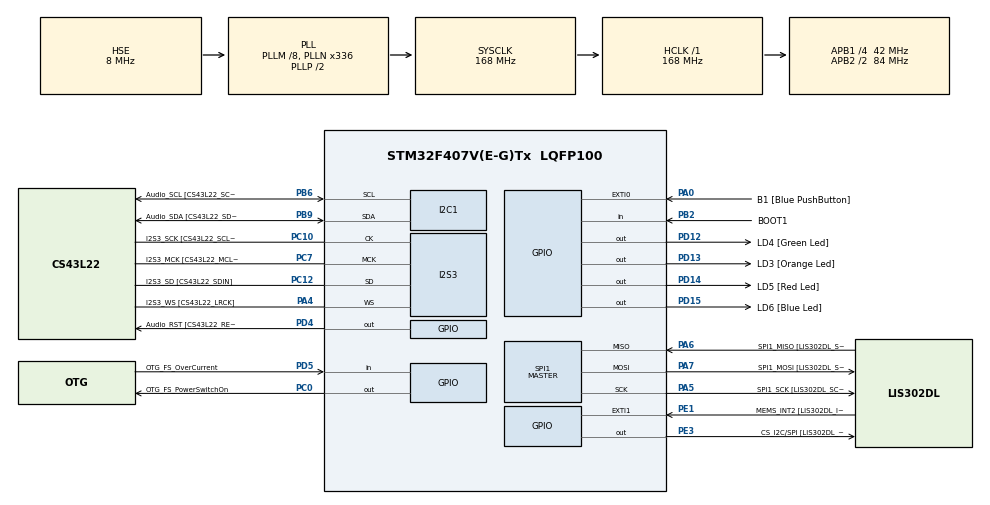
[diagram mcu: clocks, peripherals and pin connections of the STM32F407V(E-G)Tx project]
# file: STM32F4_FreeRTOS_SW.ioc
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FREERTOS.Tasks01=defaultTask,24,256,StartDefaultTask,Default,NULL,Dynamic,NULL,NULL;myGreenTask,24,256,StartGreenTask,Default,NULL,Dynamic,NULL,NULL;myBlueTask,24,256,StartBlueTask,Default,NULL,Dynamic,NULL,NULL
FREERTOS.configMINIMAL_STACK_SIZE=256
I2S3.AudioFreq-Half_Duplex_Master=I2S_AUDIOFREQ_96K
I2S3.ErrorAudioFreq=-2.34 %
I2S3.ErrorAudioFreq-Half_Duplex_Master=0.8 %
I2S3.FullDuplexMode=I2S_FULLDUPLEXMODE_DISABLE
I2S3.Instance=SPI$Index
I2S3.RealAudioFreq=93.75 KHz
I2S3.RealAudioFreq-Half_Duplex_Master=96.774 KHz
I2S3.VirtualMode=I2S_MODE_MASTER
Mcu.Family=STM32F4
Mcu.Name=STM32F407V(E-G)Tx
Mcu.Package=LQFP100
NVIC.EXTI0_IRQn=true\:5\:0\:false\:false\:true\:true\:true\:true\:true
NVIC.PriorityGroup=NVIC_PRIORITYGROUP_4
NVIC.TIM6_DAC_IRQn=true\:15\:0\:false\:false\:true\:false\:false\:true\:true
NVIC.TimeBase=TIM6_DAC_IRQn
NVIC.TimeBaseIP=TIM6
PA0-WKUP.GPIO_Label=B1 [Blue PushButton]
PA0-WKUP.GPIO_ModeDefaultEXTI=GPIO_MODE_IT_RISING
PA0-WKUP.GPIO_PuPd=GPIO_NOPULL
PA0-WKUP.Signal=GPXTI0
PA10.GPIO_Label=OTG_FS_ID
PA10.GPIO_Mode=GPIO_MODE_AF_PP
PA10.GPIO_PuPd=GPIO_NOPULL
PA10.GPIO_Speed=GPIO_SPEED_FREQ_LOW
PA10.Signal=USB_OTG_FS_ID
PA11.GPIO_Label=OTG_FS_DM
PA11.GPIO_Mode=GPIO_MODE_AF_PP
PA11.GPIO_PuPd=GPIO_NOPULL
PA11.GPIO_Speed=GPIO_SPEED_FREQ_LOW
PA11.Signal=USB_OTG_FS_DM
PA12.GPIO_Label=OTG_FS_DP
PA12.GPIO_Mode=GPIO_MODE_AF_PP
PA12.GPIO_PuPd=GPIO_NOPULL
PA12.GPIO_Speed=GPIO_SPEED_FREQ_LOW
PA12.Signal=USB_OTG_FS_DP
PA13.GPIO_Label=SWDIO
PA13.Mode=Serial_Wire
PA13.Signal=SYS_JTMS-SWDIO
PA14.GPIO_Label=SWCLK
PA14.Mode=Serial_Wire
PA14.Signal=SYS_JTCK-SWCLK
PA4.GPIO_Label=I2S3_WS [CS43L22_LRCK]
PA4.GPIO_Mode=GPIO_MODE_AF_PP
PA4.GPIO_PuPd=GPIO_NOPULL
PA4.GPIO_Speed=GPIO_SPEED_FREQ_LOW
PA4.Mode=Half_Duplex_Master
PA4.Signal=I2S3_WS
PA5.GPIO_Label=SPI1_SCK [LIS302DL_SCL/SPC]
PA5.GPIO_Mode=GPIO_MODE_AF_PP
PA5.GPIO_PuPd=GPIO_NOPULL
PA5.GPIO_Speed=GPIO_SPEED_FREQ_LOW
PA5.Mode=Full_Duplex_Master
PA5.Signal=SPI1_SCK
PA6.GPIO_Label=SPI1_MISO [LIS302DL_SDO]
PA6.GPIO_Mode=GPIO_MODE_AF_PP
PA6.GPIO_PuPd=GPIO_NOPULL
PA6.GPIO_Speed=GPIO_SPEED_FREQ_LOW
PA6.Mode=Full_Duplex_Master
PA6.Signal=SPI1_MISO
PA7.GPIO_Label=SPI1_MOSI [LIS302DL_SDA/SDI/SDO]
PA7.GPIO_Mode=GPIO_MODE_AF_PP
PA7.GPIO_PuPd=GPIO_NOPULL
PA7.GPIO_Speed=GPIO_SPEED_FREQ_LOW
PA7.Mode=Full_Duplex_Master
PA7.Signal=SPI1_MOSI
PA9.GPIO_Label=VBUS_FS
PA9.GPIO_Mode=GPIO_MODE_INPUT
PA9.GPIO_PuPd=GPIO_NOPULL
PA9.Signal=USB_OTG_FS_VBUS
PB10.GPIO_Label=CLK_IN [MP45DT02_CLK]
PB10.GPIO_Mode=GPIO_MODE_AF_PP
PB10.GPIO_PuPd=GPIO_NOPULL
PB10.GPIO_Speed=GPIO_SPEED_FREQ_LOW
PB10.Signal=I2S2_CK
PB2.GPIO_Label=BOOT1
PB2.GPIO_Mode=GPIO_MODE_INPUT
PB2.GPIO_PuPd=GPIO_NOPULL
PB2.Signal=GPIO_Input
PB3.GPIO_Label=SWO
PB3.Signal=SYS_JTDO-SWO
PB6.GPIO_Label=Audio_SCL [CS43L22_SCL]
PB6.GPIO_Mode=GPIO_MODE_AF_OD
PB6.GPIO_Pu=GPIO_PULLUP
PB6.GPIO_PuPd=GPIO_NOPULL
PB6.GPIO_Speed=GPIO_SPEED_FREQ_LOW
PB6.Mode=I2C
PB6.Signal=I2C1_SCL
PB9.GPIO_Label=Audio_SDA [CS43L22_SDA]
PB9.GPIO_Mode=GPIO_MODE_AF_OD
PB9.GPIO_Pu=GPIO_PULLUP
PB9.GPIO_PuPd=GPIO_NOPULL
PB9.GPIO_Speed=GPIO_SPEED_FREQ_LOW
PB9.Mode=I2C
PB9.Signal=I2C1_SDA
PC0.GPIO_Label=OTG_FS_PowerSwitchOn
PC0.GPIO_PuPd=GPIO_NOPULL
PC0.GPIO_Speed=GPIO_SPEED_FREQ_LOW
PC0.PinState=GPIO_PIN_SET
PC0.Signal=GPIO_Output
PC10.GPIO_Label=I2S3_SCK [CS43L22_SCLK]
PC10.GPIO_Mode=GPIO_MODE_AF_PP
PC10.GPIO_PuPd=GPIO_NOPULL
PC10.GPIO_Speed=GPIO_SPEED_FREQ_LOW
PC10.Mode=Half_Duplex_Master
PC10.Signal=I2S3_CK
PC12.GPIO_Label=I2S3_SD [CS43L22_SDIN]
PC12.GPIO_Mode=GPIO_MODE_AF_PP
PC12.GPIO_PuPd=GPIO_NOPULL
PC12.GPIO_Speed=GPIO_SPEED_FREQ_LOW
PC12.Mode=Half_Duplex_Master
PC12.Signal=I2S3_SD
PC14-OSC32_IN.GPIO_Label=PC14-OSC32_IN
PC14-OSC32_IN.Mode=LSE-External-Oscillator
PC14-OSC32_IN.Signal=RCC_OSC32_IN
PC15-OSC32_OUT.GPIO_Label=PC15-OSC32_OUT
PC15-OSC32_OUT.Mode=LSE-External-Oscillator
PC15-OSC32_OUT.Signal=RCC_OSC32_OUT
PC3.GPIO_Label=PDM_OUT [MP45DT02_DOUT]
PC3.GPIO_Mode=GPIO_MODE_AF_PP
PC3.GPIO_PuPd=GPIO_NOPULL
PC3.GPIO_Speed=GPIO_SPEED_FREQ_LOW
PC3.Signal=I2S2_SD
PC7.GPIO_Label=I2S3_MCK [CS43L22_MCLK]
PC7.GPIO_Mode=GPIO_MODE_AF_PP
PC7.GPIO_PuPd=GPIO_NOPULL
PC7.GPIO_Speed=GPIO_SPEED_FREQ_LOW
PC7.Mode=Master_Clock_Activated
PC7.Signal=I2S3_MCK
PD12.GPIO_Label=LD4 [Green Led]
PD12.GPIO_PuPd=GPIO_NOPULL
PD12.GPIO_Speed=GPIO_SPEED_FREQ_LOW
PD12.Signal=GPIO_Output
PD13.GPIO_Label=LD3 [Orange Led]
PD13.GPIO_PuPd=GPIO_NOPULL
PD13.GPIO_Speed=GPIO_SPEED_FREQ_LOW
PD13.Signal=GPIO_Output
PD14.GPIO_Label=LD5 [Red Led]
PD14.GPIO_PuPd=GPIO_NOPULL
PD14.GPIO_Speed=GPIO_SPEED_FREQ_LOW
PD14.Signal=GPIO_Output
PD15.GPIO_Label=LD6 [Blue Led]
PD15.GPIO_PuPd=GPIO_NOPULL
PD15.GPIO_Speed=GPIO_SPEED_FREQ_LOW
PD15.Signal=GPIO_Output
PD4.GPIO_Label=Audio_RST [CS43L22_RESET]
PD4.GPIO_PuPd=GPIO_NOPULL
PD4.GPIO_Speed=GPIO_SPEED_FREQ_LOW
PD4.Signal=GPIO_Output
PD5.GPIO_Label=OTG_FS_OverCurrent
PD5.GPIO_Mode=GPIO_MODE_INPUT
PD5.GPIO_PuPd=GPIO_NOPULL
PD5.Signal=GPIO_Input
PE1.GPIO_Label=MEMS_INT2 [LIS302DL_INT2]
PE1.GPIO_ModeDefaultEXTI=GPIO_MODE_EVT_RISING
PE1.GPIO_PuPd=GPIO_NOPULL
PE1.Signal=GPXTI1
PE3.GPIO_Label=CS_I2C/SPI [LIS302DL_CS_I2C/SPI]
PE3.GPIO_PuPd=GPIO_NOPULL
PE3.GPIO_Speed=GPIO_SPEED_FREQ_LOW
PE3.Signal=GPIO_Output
PH0-OSC_IN.GPIO_Label=PH0-OSC_IN
PH0-OSC_IN.Mode=HSE-External-Oscillator
PH0-OSC_IN.Signal=RCC_OSC_IN
PH1-OSC_OUT.GPIO_Label=PH1-OSC_OUT
PH1-OSC_OUT.Mode=HSE-External-Oscillator
PH1-OSC_OUT.Signal=RCC_OSC_OUT
ProjectManager.HeapSize=0x200
ProjectManager.StackSize=0x400
ProjectManager.TargetToolchain=STM32CubeIDE
RCC.48MHZClocksFreq_Value=48000000
RCC.AHBFreq_Value=168000000
RCC.APB1CLKDivider=RCC_HCLK_DIV4
RCC.APB1Freq_Value=42000000
RCC.APB1TimFreq_Value=84000000
RCC.APB2CLKDivider=RCC_HCLK_DIV2
RCC.APB2Freq_Value=84000000
RCC.APB2TimFreq_Value=168000000
RCC.CortexFreq_Value=168000000
RCC.HCLKFreq_Value=168000000
RCC.HSE_VALUE=8000000
RCC.HSI_VALUE=16000000
RCC.PLLM=8
RCC.PLLN=336
RCC.PLLQ=7
RCC.PLLSourceVirtual=RCC_PLLSOURCE_HSE
RCC.SYSCLKFreq_VALUE=168000000
RCC.SYSCLKSource=RCC_SYSCLKSOURCE_PLLCLK
RCC.VCOOutputFreq_Value=336000000
SPI1.BaudRatePrescaler-Full_Duplex_Master=SPI_BAUDRATEPRESCALER_2
SPI1.CalculateBaudRate-Full_Duplex_Master=42.0 MBits/s
SPI1.Direction=SPI_DIRECTION_2LINES
SPI1.Mode=SPI_MODE_MASTER
SPI1.Mode-Full_Duplex_Master=SPI_MODE_MASTER
SPI1.VirtualType=VM_MASTER
VP_FREERTOS_VS_CMSIS_V2.Mode=CMSIS_V2
VP_SYS_VS_tim6.Mode=TIM6
board=STM32F407G-DISC1

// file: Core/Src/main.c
/* USER CODE BEGIN Header */
/**
  ******************************************************************************
  * @file           : main.c
  * @brief          : Main program body
  ******************************************************************************
  * @attention
  *
  * Copyright (c) 2023 STMicroelectronics.
  * All rights reserved.
  *
  * This software is licensed under terms that can be found in the LICENSE file
  * in the root directory of this software component.
  * If no LICENSE file comes with this software, it is provided AS-IS.
  *
  ******************************************************************************
  */
/* USER CODE END Header */
#include "main.h"
#include "cmsis_os.h"

/* USER CODE BEGIN Includes */
#include <SEGGER_SYSVIEW.h>

/* USER CODE END Includes */

/* USER CODE BEGIN PD */
#define Marker1_Id 1		//SystemView time marker

/* USER CODE END PD */

I2C_HandleTypeDef hi2c1;

I2S_HandleTypeDef hi2s3;

SPI_HandleTypeDef hspi1;

/* Definitions for defaultTask */
osThreadId_t defaultTaskHandle;
const osThreadAttr_t defaultTask_attributes = {
  .name = "defaultTask",
  .stack_size = 256 * 4,
  .priority = (osPriority_t) osPriorityNormal,
};
/* Definitions for myGreenTask */
osThreadId_t myGreenTaskHandle;
const osThreadAttr_t myGreenTask_attributes = {
  .name = "myGreenTask",
  .stack_size = 256 * 4,
  .priority = (osPriority_t) osPriorityNormal,
};
/* Definitions for myBlueTask */
osThreadId_t myBlueTaskHandle;
const osThreadAttr_t myBlueTask_attributes = {
  .name = "myBlueTask",
  .stack_size = 256 * 4,
  .priority = (osPriority_t) osPriorityNormal,
};

void SystemClock_Config(void);
static void MX_GPIO_Init(void);
static void MX_I2C1_Init(void);
static void MX_I2S3_Init(void);
static void MX_SPI1_Init(void);
void StartDefaultTask(void *argument);
void StartGreenTask(void *argument);
void StartBlueTask(void *argument);

int main(void)
{

  /* MCU Configuration--------------------------------------------------------*/

  /* Reset of all peripherals, Initializes the Flash interface and the Systick. */
  HAL_Init();

  /* Configure the system clock */
  SystemClock_Config();

  /* Initialize all configured peripherals */
  MX_GPIO_Init();
  MX_I2C1_Init();
  MX_I2S3_Init();
  MX_SPI1_Init();

  /* Init scheduler */
  osKernelInitialize();

  /* Create the thread(s) */
  /* creation of defaultTask */
  defaultTaskHandle = osThreadNew(StartDefaultTask, NULL, &defaultTask_attributes);

  /* creation of myGreenTask */
  myGreenTaskHandle = osThreadNew(StartGreenTask, NULL, &myGreenTask_attributes);

  /* creation of myBlueTask */
  myBlueTaskHandle = osThreadNew(StartBlueTask, NULL, &myBlueTask_attributes);

  /* USER CODE BEGIN RTOS_EVENTS */
  /* add events, ... */
  SEGGER_SYSVIEW_Conf();
  /* USER CODE END RTOS_EVENTS */

  /* Start scheduler */
  osKernelStart();
  /* We should never get here as control is now taken by the scheduler */
  /* Infinite loop */
  while (1)
  {

  }
}

void SystemClock_Config(void)
{
  RCC_OscInitTypeDef RCC_OscInitStruct = {0};
  RCC_ClkInitTypeDef RCC_ClkInitStruct = {0};

  /** Configure the main internal regulator output voltage
  */
  __HAL_RCC_PWR_CLK_ENABLE();
  __HAL_PWR_VOLTAGESCALING_CONFIG(PWR_REGULATOR_VOLTAGE_SCALE1);

  /** Initializes the RCC Oscillators according to the specified parameters
  * in the RCC_OscInitTypeDef structure.
  */
  RCC_OscInitStruct.OscillatorType = RCC_OSCILLATORTYPE_HSE;
  RCC_OscInitStruct.HSEState = RCC_HSE_ON;
  RCC_OscInitStruct.PLL.PLLState = RCC_PLL_ON;
  RCC_OscInitStruct.PLL.PLLSource = RCC_PLLSOURCE_HSE;
  RCC_OscInitStruct.PLL.PLLM = 8;
  RCC_OscInitStruct.PLL.PLLN = 336;
  RCC_OscInitStruct.PLL.PLLP = RCC_PLLP_DIV2;
  RCC_OscInitStruct.PLL.PLLQ = 7;
  if (HAL_RCC_OscConfig(&RCC_OscInitStruct) != HAL_OK)
  {
    Error_Handler();
  }

  /** Initializes the CPU, AHB and APB buses clocks
  */
  RCC_ClkInitStruct.ClockType = RCC_CLOCKTYPE_HCLK|RCC_CLOCKTYPE_SYSCLK
                              |RCC_CLOCKTYPE_PCLK1|RCC_CLOCKTYPE_PCLK2;
  RCC_ClkInitStruct.SYSCLKSource = RCC_SYSCLKSOURCE_PLLCLK;
  RCC_ClkInitStruct.AHBCLKDivider = RCC_SYSCLK_DIV1;
  RCC_ClkInitStruct.APB1CLKDivider = RCC_HCLK_DIV4;
  RCC_ClkInitStruct.APB2CLKDivider = RCC_HCLK_DIV2;

  if (HAL_RCC_ClockConfig(&RCC_ClkInitStruct, FLASH_LATENCY_5) != HAL_OK)
  {
    Error_Handler();
  }
}

static void MX_I2C1_Init(void)
{

  hi2c1.Instance = I2C1;
  hi2c1.Init.ClockSpeed = 100000;
  hi2c1.Init.DutyCycle = I2C_DUTYCYCLE_2;
  hi2c1.Init.OwnAddress1 = 0;
  hi2c1.Init.AddressingMode = I2C_ADDRESSINGMODE_7BIT;
  hi2c1.Init.DualAddressMode = I2C_DUALADDRESS_DISABLE;
  hi2c1.Init.OwnAddress2 = 0;
  hi2c1.Init.GeneralCallMode = I2C_GENERALCALL_DISABLE;
  hi2c1.Init.NoStretchMode = I2C_NOSTRETCH_DISABLE;
  if (HAL_I2C_Init(&hi2c1) != HAL_OK)
  {
    Error_Handler();
  }

}

static void MX_I2S3_Init(void)
{

  hi2s3.Instance = SPI3;
  hi2s3.Init.Mode = I2S_MODE_MASTER_TX;
  hi2s3.Init.Standard = I2S_STANDARD_PHILIPS;
  hi2s3.Init.DataFormat = I2S_DATAFORMAT_16B;
  hi2s3.Init.MCLKOutput = I2S_MCLKOUTPUT_ENABLE;
  hi2s3.Init.AudioFreq = I2S_AUDIOFREQ_96K;
  hi2s3.Init.CPOL = I2S_CPOL_LOW;
  hi2s3.Init.ClockSource = I2S_CLOCK_PLL;
  hi2s3.Init.FullDuplexMode = I2S_FULLDUPLEXMODE_DISABLE;
  if (HAL_I2S_Init(&hi2s3) != HAL_OK)
  {
    Error_Handler();
  }

}

static void MX_SPI1_Init(void)
{

  /* SPI1 parameter configuration*/
  hspi1.Instance = SPI1;
  hspi1.Init.Mode = SPI_MODE_MASTER;
  hspi1.Init.Direction = SPI_DIRECTION_2LINES;
  hspi1.Init.DataSize = SPI_DATASIZE_8BIT;
  hspi1.Init.CLKPolarity = SPI_POLARITY_LOW;
  hspi1.Init.CLKPhase = SPI_PHASE_1EDGE;
  hspi1.Init.NSS = SPI_NSS_SOFT;
  hspi1.Init.BaudRatePrescaler = SPI_BAUDRATEPRESCALER_2;
  hspi1.Init.FirstBit = SPI_FIRSTBIT_MSB;
  hspi1.Init.TIMode = SPI_TIMODE_DISABLE;
  hspi1.Init.CRCCalculation = SPI_CRCCALCULATION_DISABLE;
  hspi1.Init.CRCPolynomial = 10;
  if (HAL_SPI_Init(&hspi1) != HAL_OK)
  {
    Error_Handler();
  }

}

static void MX_GPIO_Init(void)
{
  GPIO_InitTypeDef GPIO_InitStruct = {0};

  /* GPIO Ports Clock Enable */
  __HAL_RCC_GPIOE_CLK_ENABLE();
  __HAL_RCC_GPIOC_CLK_ENABLE();
  __HAL_RCC_GPIOH_CLK_ENABLE();
  __HAL_RCC_GPIOA_CLK_ENABLE();
  __HAL_RCC_GPIOB_CLK_ENABLE();
  __HAL_RCC_GPIOD_CLK_ENABLE();

  /*Configure GPIO pin Output Level */
  HAL_GPIO_WritePin(CS_I2C_SPI_GPIO_Port, CS_I2C_SPI_Pin, GPIO_PIN_RESET);

  /*Configure GPIO pin Output Level */
  HAL_GPIO_WritePin(OTG_FS_PowerSwitchOn_GPIO_Port, OTG_FS_PowerSwitchOn_Pin, GPIO_PIN_SET);

  /*Configure GPIO pin Output Level */
  HAL_GPIO_WritePin(GPIOD, LD4_Pin|LD3_Pin|LD5_Pin|LD6_Pin
                          |Audio_RST_Pin, GPIO_PIN_RESET);

  /*Configure GPIO pin : CS_I2C_SPI_Pin */
  GPIO_InitStruct.Pin = CS_I2C_SPI_Pin;
  GPIO_InitStruct.Mode = GPIO_MODE_OUTPUT_PP;
  GPIO_InitStruct.Pull = GPIO_NOPULL;
  GPIO_InitStruct.Speed = GPIO_SPEED_FREQ_LOW;
  HAL_GPIO_Init(CS_I2C_SPI_GPIO_Port, &GPIO_InitStruct);

  /*Configure GPIO pin : OTG_FS_PowerSwitchOn_Pin */
  GPIO_InitStruct.Pin = OTG_FS_PowerSwitchOn_Pin;
  GPIO_InitStruct.Mode = GPIO_MODE_OUTPUT_PP;
  GPIO_InitStruct.Pull = GPIO_NOPULL;
  GPIO_InitStruct.Speed = GPIO_SPEED_FREQ_LOW;
  HAL_GPIO_Init(OTG_FS_PowerSwitchOn_GPIO_Port, &GPIO_InitStruct);

  /*Configure GPIO pin : PDM_OUT_Pin */
  GPIO_InitStruct.Pin = PDM_OUT_Pin;
  GPIO_InitStruct.Mode = GPIO_MODE_AF_PP;
  GPIO_InitStruct.Pull = GPIO_NOPULL;
  GPIO_InitStruct.Speed = GPIO_SPEED_FREQ_LOW;
  GPIO_InitStruct.Alternate = GPIO_AF5_SPI2;
  HAL_GPIO_Init(PDM_OUT_GPIO_Port, &GPIO_InitStruct);

  /*Configure GPIO pin : B1_Pin */
  GPIO_InitStruct.Pin = B1_Pin;
  GPIO_InitStruct.Mode = GPIO_MODE_IT_RISING;
  GPIO_InitStruct.Pull = GPIO_NOPULL;
  HAL_GPIO_Init(B1_GPIO_Port, &GPIO_InitStruct);

  /*Configure GPIO pin : BOOT1_Pin */
  GPIO_InitStruct.Pin = BOOT1_Pin;
  GPIO_InitStruct.Mode = GPIO_MODE_INPUT;
  GPIO_InitStruct.Pull = GPIO_NOPULL;
  HAL_GPIO_Init(BOOT1_GPIO_Port, &GPIO_InitStruct);

  /*Configure GPIO pin : CLK_IN_Pin */
  GPIO_InitStruct.Pin = CLK_IN_Pin;
  GPIO_InitStruct.Mode = GPIO_MODE_AF_PP;
  GPIO_InitStruct.Pull = GPIO_NOPULL;
  GPIO_InitStruct.Speed = GPIO_SPEED_FREQ_LOW;
  GPIO_InitStruct.Alternate = GPIO_AF5_SPI2;
  HAL_GPIO_Init(CLK_IN_GPIO_Port, &GPIO_InitStruct);

  /*Configure GPIO pins : LD4_Pin LD3_Pin LD5_Pin LD6_Pin
                           Audio_RST_Pin */
  GPIO_InitStruct.Pin = LD4_Pin|LD3_Pin|LD5_Pin|LD6_Pin
                          |Audio_RST_Pin;
  GPIO_InitStruct.Mode = GPIO_MODE_OUTPUT_PP;
  GPIO_InitStruct.Pull = GPIO_NOPULL;
  GPIO_InitStruct.Speed = GPIO_SPEED_FREQ_LOW;
  HAL_GPIO_Init(GPIOD, &GPIO_InitStruct);

  /*Configure GPIO pin : VBUS_FS_Pin */
  GPIO_InitStruct.Pin = VBUS_FS_Pin;
  GPIO_InitStruct.Mode = GPIO_MODE_INPUT;
  GPIO_InitStruct.Pull = GPIO_NOPULL;
  HAL_GPIO_Init(VBUS_FS_GPIO_Port, &GPIO_InitStruct);

  /*Configure GPIO pins : OTG_FS_ID_Pin OTG_FS_DM_Pin OTG_FS_DP_Pin */
  GPIO_InitStruct.Pin = OTG_FS_ID_Pin|OTG_FS_DM_Pin|OTG_FS_DP_Pin;
  GPIO_InitStruct.Mode = GPIO_MODE_AF_PP;
  GPIO_InitStruct.Pull = GPIO_NOPULL;
  GPIO_InitStruct.Speed = GPIO_SPEED_FREQ_LOW;
  GPIO_InitStruct.Alternate = GPIO_AF10_OTG_FS;
  HAL_GPIO_Init(GPIOA, &GPIO_InitStruct);

  /*Configure GPIO pin : OTG_FS_OverCurrent_Pin */
  GPIO_InitStruct.Pin = OTG_FS_OverCurrent_Pin;
  GPIO_InitStruct.Mode = GPIO_MODE_INPUT;
  GPIO_InitStruct.Pull = GPIO_NOPULL;
  HAL_GPIO_Init(OTG_FS_OverCurrent_GPIO_Port, &GPIO_InitStruct);

  /*Configure GPIO pin : MEMS_INT2_Pin */
  GPIO_InitStruct.Pin = MEMS_INT2_Pin;
  GPIO_InitStruct.Mode = GPIO_MODE_EVT_RISING;
  GPIO_InitStruct.Pull = GPIO_NOPULL;
  HAL_GPIO_Init(MEMS_INT2_GPIO_Port, &GPIO_InitStruct);

  /* EXTI interrupt init*/
  HAL_NVIC_SetPriority(EXTI0_IRQn, 5, 0);
  HAL_NVIC_EnableIRQ(EXTI0_IRQn);

}

void StartDefaultTask(void *argument)
{
  /* USER CODE BEGIN 5 */
  /* Infinite loop */
  for(;;)
  {
	  osDelay(10);
  }
  /* USER CODE END 5 */
}

void StartGreenTask(void *argument)
{
  /* USER CODE BEGIN StartGreenTask */
  /* Infinite loop */
  for(;;)
  {
	  SEGGER_SYSVIEW_Print("GreenTask is running");

	  HAL_Delay(20);		//Blocking delay

	  HAL_GPIO_TogglePin(LD4_GPIO_Port, LD4_Pin);
	  osDelay(500);
  }
  /* USER CODE END StartGreenTask */
}

void StartBlueTask(void *argument)
{
  /* USER CODE BEGIN StartBlueTask */
	SEGGER_SYSVIEW_NameMarker(Marker1_Id, "MyMarker");

  /* Infinite loop */
  for(;;)
  {
	  SEGGER_SYSVIEW_Print("BlueTask is running");

	  SEGGER_SYSVIEW_MarkStart(Marker1_Id);		//Marker Start
	  for(uint32_t i=0; i<35000; i++)			//add some delay
	  			  ;
	  SEGGER_SYSVIEW_MarkStop(Marker1_Id);		//Marker Stop

	  HAL_GPIO_TogglePin(LD6_GPIO_Port, LD6_Pin);
	  osDelay(200);
  }
  /* USER CODE END StartBlueTask */
}

void HAL_TIM_PeriodElapsedCallback(TIM_HandleTypeDef *htim)
{
  if (htim->Instance == TIM6) {
    HAL_IncTick();
  }
}

void Error_Handler(void)
{
  __disable_irq();
  while (1)
  {
  }
}
